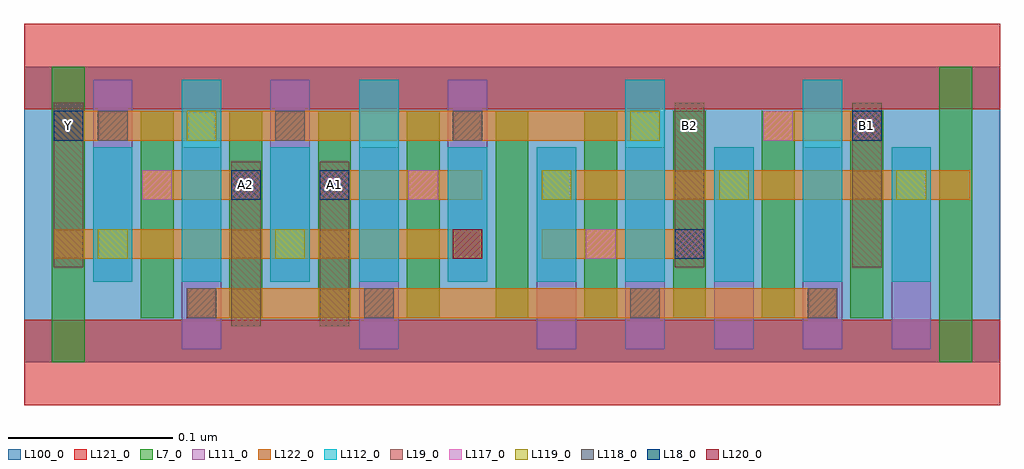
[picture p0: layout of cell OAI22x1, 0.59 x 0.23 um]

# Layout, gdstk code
import gdstk
lib = gdstk.Library(unit=1e-6, precision=2.5e-10)
def R(c, l, rs):  # rectangles x0, y0, x1, y1
    for r in rs: c.add(gdstk.rectangle(r[:2], r[2:], *l))
def A(c, l, x, y, w, h, nx, ny, dx, dy):  # array of equal rectangles
    R(c, l, [(x+i*dx, y+j*dy, x+i*dx+w, y+j*dy+h) for i in range(nx) for j in range(ny)])
L7_0 = (7, 0)
L18_0 = (18, 0)
L19_0 = (19, 0)
L100_0 = (100, 0)
L111_0 = (111, 0)
L112_0 = (112, 0)
L117_0 = (117, 0)
L118_0 = (118, 0)
L119_0 = (119, 0)
L120_0 = (120, 0)
L121_0 = (121, 0)
L122_0 = (122, 0)

oai22x1 = lib.new_cell('OAI22x1')
A(oai22x1, L7_0, 0.071, 0.027, 0.02, 0.126, 9, 1, 0.054, 0)
R(oai22x1, L7_0, [(0.017,0,0.037,0.18), (0.557,0,0.577,0.18)])
R(oai22x1, L18_0, [(0.396,0.063,0.414,0.081), (0.126,0.099,0.144,0.117), (0.18,0.099,0.198,0.117), (0.018,0.135,0.036,0.153), (0.504,0.135,0.522,0.153)])
R(oai22x1, L19_0, [(0.126,0.022,0.144,0.122), (0.18,0.022,0.198,0.122), (0.018,0.058,0.036,0.158), (0.396,0.058,0.414,0.158), (0.504,0.058,0.522,0.158)])
R(oai22x1, L100_0, [(0,0,0.594,0.18)])
A(oai22x1, L111_0, 0.096, 0.008, 0.024, 0.123, 3, 1, 0.108, 0)
A(oai22x1, L111_0, 0.366, 0.008, 0.024, 0.123, 4, 1, 0.054, 0)
A(oai22x1, L111_0, 0.042, 0.049, 0.024, 0.123, 3, 1, 0.108, 0)
A(oai22x1, L112_0, 0.042, 0.049, 0.024, 0.082, 3, 1, 0.108, 0)
A(oai22x1, L112_0, 0.312, 0.049, 0.024, 0.082, 3, 1, 0.108, 0)
R(oai22x1, L112_0, [(0.096,0.049,0.12,0.172), (0.204,0.049,0.228,0.172), (0.366,0.049,0.39,0.172), (0.474,0.049,0.498,0.172)])
A(oai22x1, L117_0, 0.072, 0.099, 0.018, 0.018, 4, 1, 0.054, 0)
R(oai22x1, L117_0, [(0.342,0.063,0.36,0.081), (0.396,0.063,0.414,0.081), (0.45,0.135,0.468,0.153), (0.504,0.135,0.522,0.153)])
A(oai22x1, L118_0, 0.045, 0.135, 0.018, 0.018, 3, 1, 0.108, 0)
R(oai22x1, L118_0, [(0.099,0.027,0.117,0.045), (0.207,0.027,0.225,0.045), (0.369,0.027,0.387,0.045), (0.477,0.027,0.495,0.045)])
A(oai22x1, L119_0, 0.045, 0.063, 0.018, 0.018, 3, 1, 0.108, 0)
A(oai22x1, L119_0, 0.315, 0.099, 0.018, 0.018, 3, 1, 0.108, 0)
R(oai22x1, L119_0, [(0.099,0.135,0.117,0.153), (0.369,0.135,0.387,0.153)])
R(oai22x1, L120_0, [(0.261,0.063,0.279,0.081)])
R(oai22x1, L121_0, [(0,-0.026,0.594,0.026), (0,0.154,0.594,0.206)])
R(oai22x1, L122_0, [(0.099,0.027,0.495,0.045), (0.018,0.063,0.279,0.081), (0.315,0.063,0.414,0.081), (0.072,0.099,0.144,0.117), (0.18,0.099,0.279,0.117), (0.315,0.099,0.576,0.117), (0.018,0.135,0.387,0.153), (0.45,0.135,0.522,0.153)])
oai22x1.add(gdstk.Label('Y', (0.027,0.144), layer=19, texttype=251))
oai22x1.add(gdstk.Label('B2', (0.405,0.144), layer=19, texttype=251))
oai22x1.add(gdstk.Label('B1', (0.513,0.144), layer=19, texttype=251))
oai22x1.add(gdstk.Label('A2', (0.135,0.108), layer=19, texttype=251))
oai22x1.add(gdstk.Label('A1', (0.189,0.108), layer=19, texttype=251))

lib.write_gds('OAI22x1.gds')
